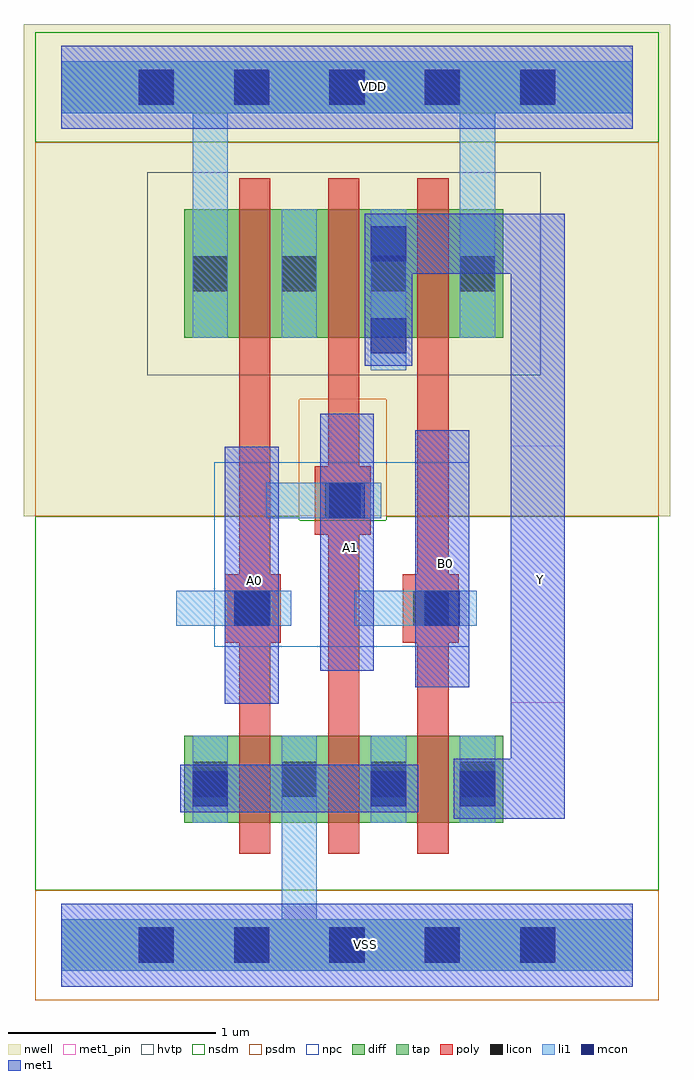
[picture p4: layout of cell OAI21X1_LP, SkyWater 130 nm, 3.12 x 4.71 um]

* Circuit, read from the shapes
.subckt OAI21X1_LP A0 A1 B0 VDD VSS Y
XM1 VSS A0 n1 VSS sky130_fd_pr__nfet_01v8 w=0.42 l=0.15
XM2 n1 A1 VSS VSS sky130_fd_pr__nfet_01v8 w=0.42 l=0.15
XM3 Y B0 n1 VSS sky130_fd_pr__nfet_01v8 w=0.42 l=0.15
XM4 n2 A0 VDD VDD sky130_fd_pr__pfet_01v8_hvt w=0.62 l=0.15
XM5 Y A1 n2 VDD sky130_fd_pr__pfet_01v8_hvt w=0.62 l=0.15
XM6 VDD B0 Y VDD sky130_fd_pr__pfet_01v8_hvt w=0.62 l=0.15
.ends

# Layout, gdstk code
from math import pi, radians
import gdstk
lib = gdstk.Library(unit=1e-6, precision=1e-09)
def R(c, l, rs):  # rectangles x0, y0, x1, y1
    for r in rs: c.add(gdstk.rectangle(r[:2], r[2:], *l))
def A(c, l, x, y, w, h, nx, ny, dx, dy):  # array of equal rectangles
    R(c, l, [(x+i*dx, y+j*dy, x+i*dx+w, y+j*dy+h) for i in range(nx) for j in range(ny)])
def P(c, l, *ps):  # polygons
    for p in ps: c.add(gdstk.Polygon(p, *l))
nwell = (64, 20)
diff = (65, 20)
tap = (65, 44)
poly = (66, 20)
licon = (66, 44)
li1 = (67, 20)
mcon = (67, 44)
met1_pin = (68, 16)
met1 = (68, 20)
hvtp = (78, 44)
nsdm = (93, 44)
psdm = (94, 20)
npc = (95, 20)

pyl1con_c_cdns_795853916 = lib.new_cell('PYL1CON_C_CDNS_795853916195')
R(pyl1con_c_cdns_795853916, poly, [(-0.135,-0.165,0.135,0.165)])
R(pyl1con_c_cdns_795853916, licon, [(-0.085,-0.085,0.085,0.085)])
R(pyl1con_c_cdns_795853916, npc, [(-0.185,-0.185,0.185,0.185)])

l1m1_c_cdns_795853916197 = lib.new_cell('L1M1_C_CDNS_795853916197')
R(l1m1_c_cdns_795853916197, li1, [(-0.085,-0.165,0.085,0.165)])
R(l1m1_c_cdns_795853916197, mcon, [(-0.085,-0.085,0.085,0.085)])
R(l1m1_c_cdns_795853916197, met1, [(-0.115,-0.145,0.115,0.145)])

l1m1_c_cdns_795853916194 = lib.new_cell('L1M1_C_CDNS_795853916194')
R(l1m1_c_cdns_795853916194, li1, [(-0.165,-0.085,0.165,0.085)])
R(l1m1_c_cdns_795853916194, mcon, [(-0.085,-0.085,0.085,0.085)])
R(l1m1_c_cdns_795853916194, met1, [(-0.115,-0.145,0.115,0.145)])

l1m1_c_cdns_795853916198 = lib.new_cell('L1M1_C_CDNS_795853916198')
R(l1m1_c_cdns_795853916198, li1, [(-0.085,-0.165,0.085,0.165)])
R(l1m1_c_cdns_795853916198, mcon, [(-0.085,-0.085,0.085,0.085)])
R(l1m1_c_cdns_795853916198, met1, [(-0.145,-0.115,0.145,0.115)])

oai21x1_lp = lib.new_cell('OAI21X1_LP')
R(oai21x1_lp, nwell, [(-0.18,2.07,2.94,4.445)])
R(oai21x1_lp, diff, [(0.595,0.59,2.135,1.01), (0.595,2.93,2.135,3.55)])
A(oai21x1_lp, poly, 0.86, 0.44, 0.15, 3.26, 3, 1, 0.43, 0)
A(oai21x1_lp, licon, 0.375, -0.085, 0.17, 0.17, 5, 2, 0.46, 4.14)
A(oai21x1_lp, licon, 0.635, 0.715, 0.17, 0.17, 4, 2, 0.43, 2.44)
R(oai21x1_lp, li1, [(0.635,0.59,0.805,1.01), (1.495,0.59,1.665,1.01), (1.925,0.59,2.095,1.01), (1.065,2.93,1.235,3.55), (1.495,2.93,1.665,3.55)])
P(oai21x1_lp, li1, [(0.635,2.93),(0.635,4.015),(0,4.015),(0,4.265),(2.76,4.265),(2.76,4.015),(2.095,4.015),(2.095,2.93),(1.925,2.93),(1.925,4.015),(0.805,4.015),(0.805,2.93)],
  [(0,-0.125),(0,0.125),(1.065,0.125),(1.065,1.01),(1.235,1.01),(1.235,0.125),(2.76,0.125),(2.76,-0.125)])
A(oai21x1_lp, mcon, 0.375, -0.085, 0.17, 0.17, 5, 2, 0.46, 4.14)
R(oai21x1_lp, met1_pin, [(0.79,1.165,1.05,2.405), (2.17,1.17,2.43,2.41), (1.71,1.245,1.97,2.485), (1.25,1.325,1.51,2.565)])
P(oai21x1_lp, met1, [(1.995,0.61),(1.995,0.9),(2.17,0.9),(2.17,3.24),(1.695,3.24),(1.695,2.94),(1.465,2.94),(1.465,3.38),(1.58,3.38),(1.58,3.53),(2.43,3.53),(2.43,0.61)])
R(oai21x1_lp, hvtp, [(0.415,2.75,2.315,3.73)])
R(oai21x1_lp, nsdm, [(-0.125,3.875,2.885,4.405)])
P(oai21x1_lp, nsdm, [(-0.125,0.265),(-0.125,2.07),(1.15,2.07),(1.15,2.05),(1.57,2.05),(1.57,2.07),(2.885,2.07),(2.885,0.265)])
R(oai21x1_lp, psdm, [(-0.125,-0.265,2.885,0.265)])
P(oai21x1_lp, psdm, [(-0.125,2.07),(-0.125,3.875),(2.885,3.875),(2.885,2.07),(1.57,2.07),(1.57,2.635),(1.15,2.635),(1.15,2.07)])
R(oai21x1_lp, npc, [(0.74,1.44,1.97,2.33)])
oai21x1_lp.add(gdstk.FlexPath([(0,4.14),(2.76,4.14)], 0.4, ends="flush", simple_path=True, layer=68, datatype=20))  # met1
oai21x1_lp.add(gdstk.FlexPath([(0,0),(2.76,0)], 0.4, ends="flush", simple_path=True, layer=68, datatype=20))  # met1
oai21x1_lp.add(gdstk.FlexPath([(1.38,1.325),(1.38,2.565)], 0.26, ends="flush", simple_path=True, layer=68, datatype=20))  # met1
oai21x1_lp.add(gdstk.FlexPath([(0.92,1.165),(0.92,2.405)], 0.26, ends="flush", simple_path=True, layer=68, datatype=20))  # met1
oai21x1_lp.add(gdstk.FlexPath([(1.84,1.245),(1.84,2.485)], 0.26, ends="flush", simple_path=True, layer=68, datatype=20))  # met1
oai21x1_lp.add(gdstk.FlexPath([(1.725,0.755),(0.575,0.755)], 0.23, ends="flush", simple_path=True, layer=68, datatype=20))  # met1
oai21x1_lp.add(gdstk.FlexPath([(1.415,1.625),(1.95,1.625)], 0.17, ends="flush", simple_path=True, layer=67, datatype=20))  # li1
oai21x1_lp.add(gdstk.FlexPath([(0.99,2.145),(1.545,2.145)], 0.17, ends="flush", simple_path=True, layer=67, datatype=20))  # li1
oai21x1_lp.add(gdstk.FlexPath([(0.555,1.625),(1.11,1.625)], 0.17, ends="flush", simple_path=True, layer=67, datatype=20))  # li1
oai21x1_lp.add(gdstk.FlexPath([(0,4.14),(2.76,4.14)], 0.25, ends="flush", simple_path=True, layer=65, datatype=44))  # tap
oai21x1_lp.add(gdstk.FlexPath([(0,0),(2.76,0)], 0.25, ends="flush", simple_path=True, layer=65, datatype=44))  # tap
oai21x1_lp.add(gdstk.FlexPath([(0,0),(2.76,0)], 0.4, ends="flush", simple_path=True, layer=68, datatype=16))  # met1_pin
oai21x1_lp.add(gdstk.FlexPath([(0,4.14),(2.76,4.14)], 0.4, ends="flush", simple_path=True, layer=68, datatype=16))  # met1_pin
oai21x1_lp.add(gdstk.Reference(pyl1con_c_cdns_795853916, (1.36,2.145), rotation=pi, x_reflection=True))
oai21x1_lp.add(gdstk.Reference(pyl1con_c_cdns_795853916, (1.785,1.625), rotation=pi, x_reflection=True))
oai21x1_lp.add(gdstk.Reference(pyl1con_c_cdns_795853916, (0.925,1.625), rotation=pi, x_reflection=True))
oai21x1_lp.add(gdstk.Reference(l1m1_c_cdns_795853916197, (1.58,3.385)))
oai21x1_lp.add(gdstk.Reference(l1m1_c_cdns_795853916197, (2.01,0.755)))
oai21x1_lp.add(gdstk.Reference(l1m1_c_cdns_795853916197, (1.58,2.94)))
oai21x1_lp.add(gdstk.Reference(l1m1_c_cdns_795853916194, (1.38,2.145), x_reflection=True))
oai21x1_lp.add(gdstk.Reference(l1m1_c_cdns_795853916194, (1.84,1.625), x_reflection=True))
oai21x1_lp.add(gdstk.Reference(l1m1_c_cdns_795853916194, (0.92,1.625), x_reflection=True))
oai21x1_lp.add(gdstk.Reference(l1m1_c_cdns_795853916198, (0.72,0.755)))
oai21x1_lp.add(gdstk.Reference(l1m1_c_cdns_795853916198, (1.58,0.755)))
oai21x1_lp.add(gdstk.Label('VDD', (1.51,4.145), layer=68, texttype=5))
oai21x1_lp.add(gdstk.Label('Y', (2.315,1.765), layer=68, texttype=5))
oai21x1_lp.add(gdstk.Label('B0', (1.855,1.84), layer=68, texttype=5))
oai21x1_lp.add(gdstk.Label('A0', (0.935,1.76), layer=68, texttype=5))
oai21x1_lp.add(gdstk.Label('A1', (1.395,1.92), layer=68, texttype=5))
oai21x1_lp.add(gdstk.Label('VSS', (1.47,0.005), layer=68, texttype=5))

lib.write_gds('OAI21X1_LP.gds')
